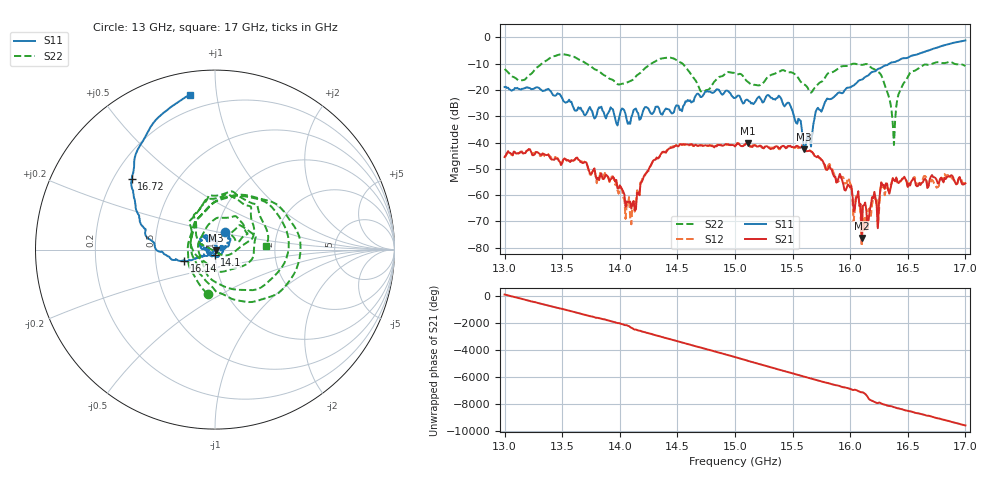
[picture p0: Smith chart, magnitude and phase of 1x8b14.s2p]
!Keysight Technologies,P9374A,MY57211807,A.19.30.04
!Date: Friday, May 08, 2026 14:25:09
!Correction: S11(C  2-Port  )
!S21(C  2-Port  )
!S12(C  2-Port  )
!S22(C  2-Port  )
!S2P File: Measurements: S11, S21, S12, S22:
# Hz S  dB  R 50
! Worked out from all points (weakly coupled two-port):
!   401 points, 13 GHz to 17 GHz, reference 50 ohm
!   highest |S21| = -40.13 dB at 15.11 GHz (marker M1); lowest = -76.3 dB at 16.1 GHz (marker M2)
!   lowest |S11| = -42.5 dB at 15.6 GHz (marker M3), VSWR 1.02, Z = 50.7 - j0.357 ohm
!   |S11| at or under -10 dB: start of sweep to 16.34 GHz
!   |S22| runs from -41.0 to -6.4 dB; largest |S21 - S12| = 0.00076
!   S11 on the Smith chart (normalised r, x): 13 GHz: 1.10, +0.22; 14.1 GHz: 1.00, -0.06; 16.14 GHz: 0.70, -0.09; 16.72 GHz: 0.27, +0.34; 17 GHz: 0.12, +0.84
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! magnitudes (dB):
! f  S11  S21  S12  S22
! 13 GHz  -18.9  -45.5  -45.8  -12.1
! 13.15 GHz  -19.6  -43.7  -43.4  -16.3
! 13.67 GHz  -27.8  -47.6  -47.2  -8.9
! 13.95 GHz  -29.2  -53.7  -54.0  -16.6
! 14.1 GHz  -30.3  -65.1  -71.1  -16.5
! 14.34 GHz  -27.0  -45.8  -45.6  -8.3
! 14.54 GHz  -28.1  -40.9  -40.8  -9.8
! 14.72 GHz  -22.3  -41.2  -41.3  -20.8
! 15 GHz  -23.0  -41.5  -41.3  -13.6
! 15.11 GHz  -23.8  -40.1  -40.2  -16.8
! 15.47 GHz  -25.0  -41.5  -41.4  -13.3
! 15.6 GHz  -42.5  -42.8  -42.4  -17.9
! 15.67 GHz  -36.7  -43.7  -43.6  -20.6
! 15.72 GHz  -26.8  -45.1  -45.3  -17.8
! 15.99 GHz  -19.1  -56.4  -54.2  -10.7
! 16.1 GHz  -16.1  -76.3  -79.4  -10.5
! 16.14 GHz  -14.8  -65.7  -73.3  -10.1
! 16.34 GHz  -10.0  -59.5  -58.0  -23.3
! 16.38 GHz  -9.4  -54.3  -54.0  -41.0
! 16.51 GHz  -7.5  -55.6  -55.4  -14.2
! 16.72 GHz  -4.3  -53.1  -54.8  -9.8
! 17 GHz  -1.2  -55.5  -54.8  -10.9
